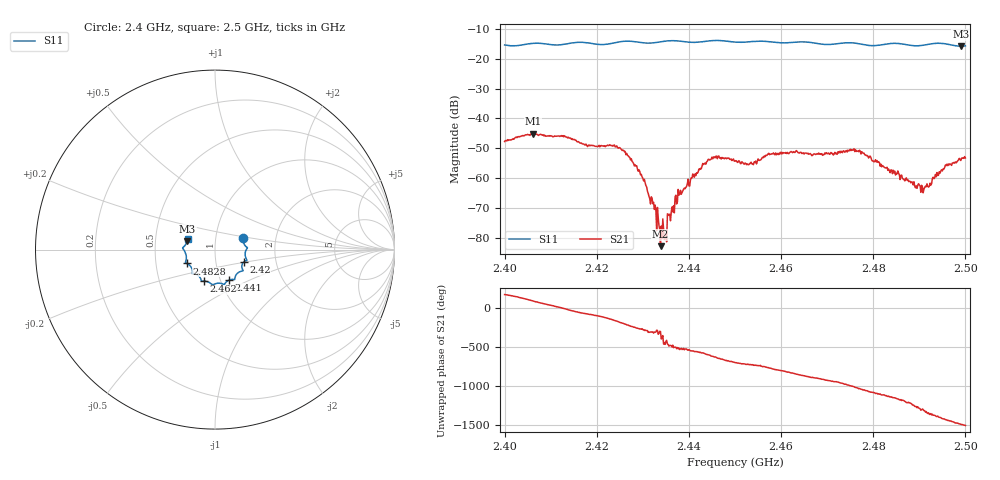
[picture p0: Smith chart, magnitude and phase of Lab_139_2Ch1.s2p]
# Hz S RI R 50
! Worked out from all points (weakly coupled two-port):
!   601 points, 2.4 GHz to 2.5 GHz, reference 50 ohm
!   highest |S21| = -45.12 dB at 2.4062 GHz (marker M1); lowest = -82.7 dB at 2.4338 GHz (marker M2)
!   lowest |S11| = -15.8 dB at 2.499 GHz (marker M3), VSWR 1.38, Z = 36.5 + j3.47 ohm
!   |S11| at or under -10 dB: start of sweep to end of sweep
!   S12 and S22 are empty: the file has one direction only
!   S11 on the Smith chart (normalised r, x): 2.4 GHz: 1.36, +0.18; 2.42 GHz: 1.36, -0.20; 2.441 GHz: 1.10, -0.39; 2.462 GHz: 0.84, -0.30; 2.4828 GHz: 0.72, -0.11; 2.5 GHz: 0.73, +0.09
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2.4e9  0.1572 0.063  -0.00399 0.000992  0 0  0 0
2.406167e9  0.1798 0.0116  0.000559 0.00552  0 0  0 0
2.416667e9  0.1779 -0.06  0.00128 -0.00367  0 0  0 0
2.42e9  0.1594 -0.0697  -0.00088 -0.0033  0 0  0 0
2.423833e9  0.1514 -0.1052  -0.00349 -0.000883  0 0  0 0
2.427e9  0.1562 -0.1183  -0.00142 0.00178  0 0  0 0
2.430167e9  0.1349 -0.1249  0.00021 0.000882  0 0  0 0
2.433333e9  0.1124 -0.1509  0.00021 6.7e-05  0 0  0 0
2.433833e9  0.1114 -0.155  4.42e-05 5.86e-05  0 0  0 0
2.434667e9  0.1107 -0.1609  2.72e-06 -9.43e-05  0 0  0 0
2.4375e9  0.107 -0.1668  -0.000358 -0.00019  0 0  0 0
2.441e9  0.0785 -0.1696  -0.00109 0.000309  0 0  0 0
2.4455e9  0.0521 -0.194  0.000141 0.00227  0 0  0 0
2.45e9  0.0286 -0.1872  0.00186 0.0005  0 0  0 0
2.462e9  -0.0602 -0.1757  -0.00117 -0.00249  0 0  0 0
2.466667e9  -0.0777 -0.1683  -0.00239 -0.000163  0 0  0 0
2.475833e9  -0.1263 -0.1319  0.00122 0.00287  0 0  0 0
2.482833e9  -0.1577 -0.0774  0.00102 -0.0011  0 0  0 0
2.483333e9  -0.1608 -0.0762  0.000841 -0.00115  0 0  0 0
2.490833e9  -0.167 -0.0131  -0.000399 0.000409  0 0  0 0
2.499e9  -0.1546 0.0463  0.00115 -0.00162  0 0  0 0
2.5e9  -0.1516 0.061  0.000771 -0.00205  0 0  0 0
